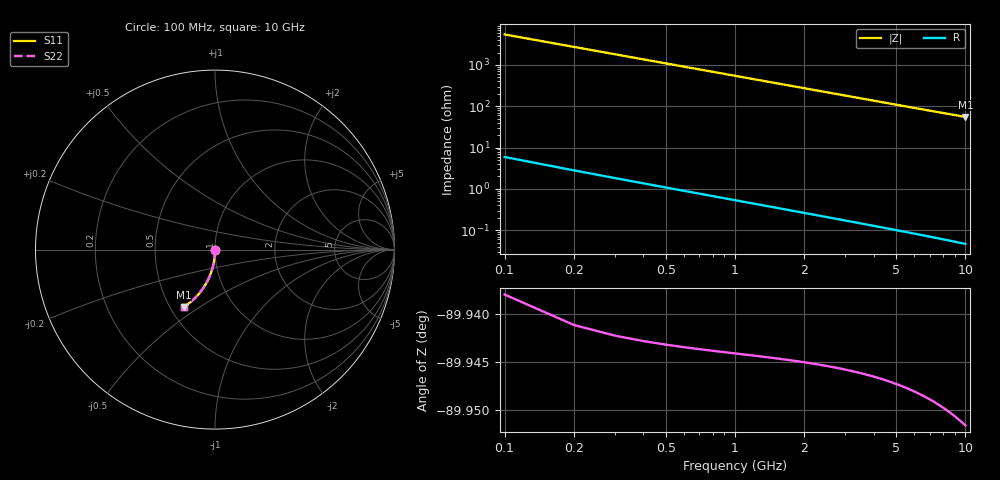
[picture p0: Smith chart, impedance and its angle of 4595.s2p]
# Hz S RI R 50.00
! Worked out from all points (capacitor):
!   100 points, 100 MHz to 10 GHz, reference 50 ohm
!   read as one part in shunt: C = 291 fF near 100 MHz
!   lowest |Z| = 55.3 ohm at 10 GHz (marker M1)
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1e8  0.00029 -0.00396  0.9997 -0.00518  0.9997 -0.00518  0.00029 -0.00396
2e8  0.000226 -0.00791  0.9996 -0.0104  0.9996 -0.0104  0.000226 -0.00791
3e8  0.00012 -0.0119  0.9995 -0.0155  0.9995 -0.0155  0.00012 -0.0119
4e8  -2.64e-05 -0.0158  0.9993 -0.0207  0.9993 -0.0207  -2.64e-05 -0.0158
5e8  -0.000214 -0.0198  0.9991 -0.0259  0.9991 -0.0259  -0.000214 -0.0198
6e8  -0.000443 -0.0237  0.9989 -0.0311  0.9989 -0.0311  -0.000443 -0.0237
7e8  -0.000713 -0.0277  0.9986 -0.0363  0.9986 -0.0363  -0.000713 -0.0277
8e8  -0.00102 -0.0316  0.9983 -0.0414  0.9983 -0.0414  -0.00102 -0.0316
9e8  -0.00137 -0.0355  0.9979 -0.0466  0.9979 -0.0466  -0.00137 -0.0355
1.1e9  -0.0022 -0.0434  0.9971 -0.0569  0.9971 -0.0569  -0.0022 -0.0434
1.4e9  -0.00374 -0.0552  0.9955 -0.0723  0.9955 -0.0723  -0.00374 -0.0552
1.8e9  -0.00636 -0.0707  0.9927 -0.0928  0.9927 -0.0928  -0.00636 -0.0707
2.1e9  -0.00874 -0.0823  0.9903 -0.1081  0.9903 -0.1081  -0.00874 -0.0823
2.5e9  -0.0125 -0.0976  0.9864 -0.1283  0.9864 -0.1283  -0.0125 -0.0976
2.9e9  -0.0168 -0.1127  0.9819 -0.1483  0.9819 -0.1483  -0.0168 -0.1127
3.4e9  -0.0231 -0.1312  0.9754 -0.173  0.9754 -0.173  -0.0231 -0.1312
4.2e9  -0.035 -0.16  0.963 -0.2116  0.963 -0.2116  -0.035 -0.16
5.1e9  -0.051 -0.1908  0.9464 -0.2535  0.9464 -0.2535  -0.051 -0.1908
5.9e9  -0.0673 -0.2165  0.9294 -0.2893  0.9294 -0.2893  -0.0673 -0.2165
6.7e9  -0.0854 -0.2406  0.9105 -0.3233  0.9105 -0.3233  -0.0854 -0.2406
8.4e9  -0.1287 -0.2858  0.8651 -0.3898  0.8651 -0.3898  -0.1287 -0.2858
1e10  -0.1741 -0.3202  0.8174 -0.4444  0.8174 -0.4444  -0.1741 -0.3202
